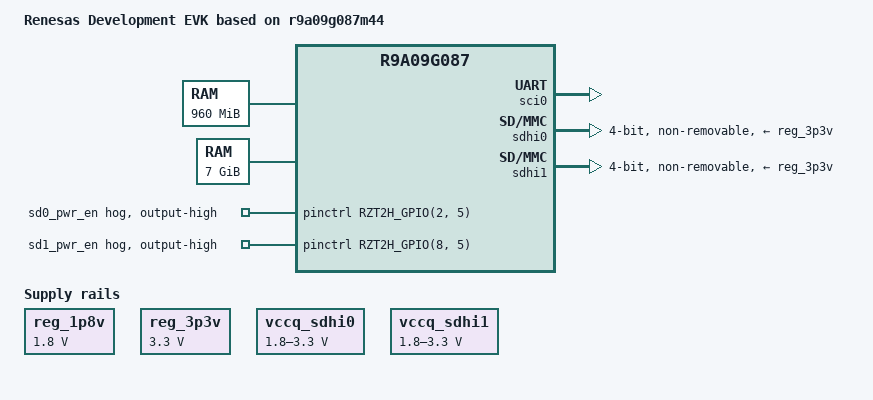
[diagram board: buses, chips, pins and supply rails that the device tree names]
// SPDX-License-Identifier: (GPL-2.0-only OR BSD-2-Clause)
/*
 * Device Tree Source for the RZ/N2H Development EVK board
 *
 * Copyright (C) 2025 Renesas Electronics Corp.
 */

/dts-v1/;
#include "r9a09g087.dtsi"
#include <dt-bindings/pinctrl/rzt2h-pinctrl.h>
#include <dt-bindings/gpio/gpio.h>

/ {
	model = "Renesas Development EVK based on r9a09g087m44";
	compatible = "renesas,r9a09g087m44-dev", "renesas,r9a09g087m44", "renesas,r9a09g087";

	aliases {
		serial0 = &sci0;
		mmc0 = &sdhi0;
		mmc1 = &sdhi1;
	};

	chosen {
		bootargs = "ignore_loglevel";
		stdout-path = "serial0:115200n8";
	};

	memory@C4000000 {
		device_type = "memory";
		reg = <0x0 0xC4000000 0x0 0x3C000000>;
	};

	memory@240000000 {
		device_type = "memory";
		reg = <0x2 0x40000000 0x1 0xC0000000>;
	};

	reserved-memory {
		#address-cells = <2>;
		#size-cells = <2>;
		ranges;

		global_cma: linux,cma@D0000000 {
			compatible = "shared-dma-pool";
			linux,cma-default;
			reusable;
			reg = <0x0 0xD0000000 0x0 0x10000000>;
		};
	};

	reg_1p8v: regulator0 {
		compatible = "regulator-fixed";

		regulator-name = "fixed-1.8V";
		regulator-min-microvolt = <1800000>;
		regulator-max-microvolt = <1800000>;
		regulator-boot-on;
		regulator-always-on;
	};

	reg_3p3v: regulator1 {
		compatible = "regulator-fixed";

		regulator-name = "fixed-3.3V";
		regulator-min-microvolt = <3300000>;
		regulator-max-microvolt = <3300000>;
		regulator-boot-on;
		regulator-always-on;
	};

	vccq_sdhi0: regulator-vccq-sdhi0 {
		compatible = "regulator-gpio";

		regulator-name = "SDHI0 VccQ";
		regulator-min-microvolt = <1800000>;
		regulator-max-microvolt = <3300000>;

		gpios = <&pinctrl RZT2H_GPIO(2, 6) GPIO_ACTIVE_HIGH>; /* SDHI : SD0_IOVS/P02_6 */

		gpios-states = <1>;
		states = <3300000 0 1800000 1>;
	};

	vccq_sdhi1: regulator-vccq-sdhi1 {
		compatible = "regulator-gpio";

		regulator-name = "SDHI1 VccQ";
		regulator-min-microvolt = <1800000>;
		regulator-max-microvolt = <3300000>;

		gpios = <&pinctrl RZT2H_GPIO(8, 6) GPIO_ACTIVE_HIGH>; /* SDHI : SD1_IOVS/P08_6 */

		gpios-states = <1>;
		states = <3300000 0 1800000 1>;
	};
};

&pinctrl {
	sci0_pins: sci0 {
		pinmux = <RZT2H_PORT_PINMUX(27, 5, 0x14)>, /* SCI : TXD0/P27_5 */
			 <RZT2H_PORT_PINMUX(27, 4, 0x14)>; /* SCI : RXD0/P27_4 */
		bias-pull-up;
	};

	sd0_pwr_en {
		gpio-hog;
		gpios = <RZT2H_GPIO(2, 5) GPIO_ACTIVE_HIGH>; /* SDHI : SD0_PWEN/P02_5 */
		output-high;
		line-name = "sd0_pwr_en";
	};

	sd1_pwr_en {
		gpio-hog;
		gpios = <RZT2H_GPIO(8, 5) GPIO_ACTIVE_HIGH>; /* SDHI : SD1_PWEN/P08_5 */
		output-high;
		line-name = "sd1_pwr_en";
	};

	sdhi0_pins: sd0 {
		sd0_data {
			pinmux = <RZT2H_PORT_PINMUX(12, 2, 0x29)>, /* SDHI : SD0_DATA0/P12_2 */
				 <RZT2H_PORT_PINMUX(12, 3, 0x29)>, /* SDHI : SD0_DATA1/P12_3 */
				 <RZT2H_PORT_PINMUX(12, 4, 0x29)>, /* SDHI : SD0_DATA2/P12_4 */
				 <RZT2H_PORT_PINMUX(12, 5, 0x29)>, /* SDHI : SD0_DATA3/P12_5 */
				 <RZT2H_PORT_PINMUX(12, 6, 0x29)>, /* SDHI : SD0_DATA4/P12_6 */
				 <RZT2H_PORT_PINMUX(12, 7, 0x29)>, /* SDHI : SD0_DATA5/P12_7 */
				 <RZT2H_PORT_PINMUX(13, 0, 0x29)>, /* SDHI : SD0_DATA6/P13_0 */
				 <RZT2H_PORT_PINMUX(13, 1, 0x29)>; /* SDHI : SD0_DATA7/P13_1 */
		};

		sd0_ctrl {
			pinmux = <RZT2H_PORT_PINMUX(12, 0, 0x29)>, /* SDHI : SD0_CLK/P12_0 */
				 <RZT2H_PORT_PINMUX(12, 1, 0x29)>, /* SDHI : SD0_CMD/P12_1 */
				 <RZT2H_PORT_PINMUX(22, 5, 0x29)>; /* SDHI : SD0_CD/P22_5 */
		};
	};

	sdhi1_pins: sd1 {
		sd1_data {
			pinmux = <RZT2H_PORT_PINMUX(16, 7, 0x29)>, /* SDHI : SD1_DATA0/P16_7 */
				 <RZT2H_PORT_PINMUX(17, 0, 0x29)>, /* SDHI : SD1_DATA1/P17_0 */
				 <RZT2H_PORT_PINMUX(17, 1, 0x29)>, /* SDHI : SD1_DATA2/P17_1 */
				 <RZT2H_PORT_PINMUX(17, 2, 0x29)>; /* SDHI : SD1_DATA3/P17_2 */
		};

		sd1_ctrl {
			pinmux = <RZT2H_PORT_PINMUX(16, 5, 0x29)>, /* SDHI : SD1_CLK/P16_5 */
				 <RZT2H_PORT_PINMUX(16, 6, 0x29)>, /* SDHI : SD1_CMD/P16_6 */
				 <RZT2H_PORT_PINMUX(17, 4, 0x29)>; /* SDHI : SD1_CD/P17_4 */
		};
	};
};

&extal {
	clock-frequency = <25000000>;
};

&loco {
	clock-frequency = <1000000>;
};

&sci0 {
	pinctrl-0 = <&sci0_pins>;
	pinctrl-names = "default";
	status = "okay";
};

&sdhi0 {
	pinctrl-0 = <&sdhi0_pins>;
	pinctrl-names = "default";

	vmmc-supply = <&reg_3p3v>;
	vqmmc-supply = <&vccq_sdhi0>;
	bus-width = <4>;
	non-removable;
	status = "okay";
};

&sdhi1 {
	pinctrl-0 = <&sdhi1_pins>;
	pinctrl-names = "default";

	vmmc-supply = <&reg_3p3v>;
	vqmmc-supply = <&vccq_sdhi1>;
	bus-width = <4>;
	non-removable;
	status = "okay";
};
